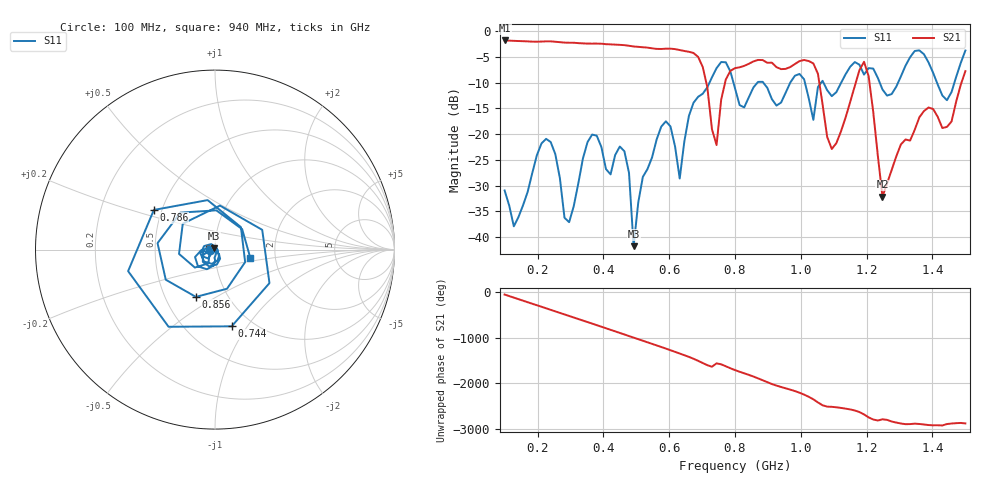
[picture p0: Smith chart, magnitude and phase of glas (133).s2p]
! NanoVNA-App
! Date: 2025-09-25 15:56:30
! Start: 100MHz Stop: 1,5GHz Points: 101
! S-Parameter data: F S11 S21 S12 S22
# Hz S RI R 50
!  Frequency  S11_Real  S11_Imag  S21_Real  S21_Imag  S12_Real  S12_Imag  S22_Real  S22_Imag
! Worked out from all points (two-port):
!   101 points, 100 MHz to 1.5 GHz, reference 50 ohm
!   highest |S21| = -1.80 dB at 100 MHz (marker M1); lowest = -32.1 dB at 1.248 GHz (marker M2)
!   |S21| within 3 dB of the highest: start of sweep to 684.3 MHz
!   lowest |S11| = -41.8 dB at 492 MHz (marker M3), VSWR 1.02, Z = 49.5 + j0.62 ohm
!   |S11| at or under -10 dB: start of sweep to 722.5 MHz; 795.3 MHz to 868.1 MHz (72.8 MHz wide, 8.75 % of centre); 886 MHz to 967.8 MHz (81.87 MHz wide, 8.83 % of centre) (the widest 3 of 7)
!   S12 and S22 are empty: the file has one direction only
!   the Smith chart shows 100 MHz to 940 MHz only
!   S11 on the Smith chart (normalised r, x): 100 MHz: 0.95, -0.01; 744 MHz: 0.80, -0.85; 786 MHz: 0.45, +0.24; 856 MHz: 0.71, -0.41; 940 MHz: 1.48, -0.15
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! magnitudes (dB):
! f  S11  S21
! 100 MHz  -31.0  -1.8
! 128 MHz  -37.9  -1.9
! 226 MHz  -20.9  -2.0
! 296 MHz  -37.1  -2.2
! 338 MHz  -24.7  -2.4
! 464 MHz  -23.3  -2.7
! 492 MHz  -41.8  -3.0
! 576 MHz  -18.5  -3.5
! 632 MHz  -28.6  -3.7
! 702 MHz  -12.2  -7.0
! 744 MHz  -7.2  -22.1
! 786 MHz  -7.8  -7.7
! 800 MHz  -11.1  -7.2
! 856 MHz  -10.9  -5.9
! 940 MHz  -13.9  -7.4
! 1.038 GHz  -17.2  -6.3
! 1.094 GHz  -12.6  -22.9
! 1.192 GHz  -8.4  -5.9
! 1.248 GHz  -11.3  -32.1
! 1.276 GHz  -12.2  -27.0
! 1.444 GHz  -13.4  -18.6
! 1.5 GHz  -3.8  -7.8
